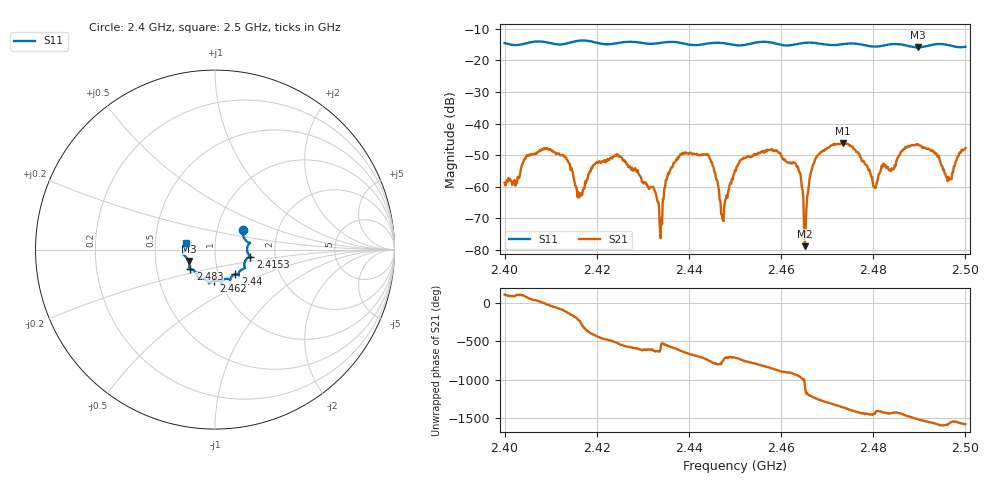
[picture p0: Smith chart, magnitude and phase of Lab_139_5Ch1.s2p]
# Hz S RI R
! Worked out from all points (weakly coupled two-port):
!   601 points, 2.4 GHz to 2.5 GHz, reference 50 ohm
!   highest |S21| = -46.12 dB at 2.4735 GHz (marker M1); lowest = -78.8 dB at 2.4652 GHz (marker M2)
!   lowest |S11| = -15.9 dB at 2.4897 GHz (marker M3), VSWR 1.38, Z = 36.9 - j4.8 ohm
!   |S11| at or under -10 dB: start of sweep to end of sweep
!   S12 and S22 are empty: the file has one direction only
!   S11 on the Smith chart (normalised r, x): 2.4 GHz: 1.33, +0.29; 2.4153 GHz: 1.48, -0.12; 2.44 GHz: 1.20, -0.34; 2.462 GHz: 0.93, -0.33; 2.483 GHz: 0.74, -0.17; 2.5 GHz: 0.72, +0.06
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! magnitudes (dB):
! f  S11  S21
! 2.4 GHz  -14.5  -58.8
! 2.4088 GHz  -14.2  -47.8
! 2.4153 GHz  -14.0  -59.6
! 2.4167 GHz  -13.7  -62.2
! 2.4245 GHz  -14.5  -49.7
! 2.4333 GHz  -14.5  -64.8
! 2.4363 GHz  -14.1  -53.9
! 2.44 GHz  -15.0  -49.7
! 2.4445 GHz  -14.6  -51.0
! 2.4472 GHz  -14.5  -69.1
! 2.45 GHz  -15.1  -54.8
! 2.462 GHz  -15.2  -52.3
! 2.4638 GHz  -14.7  -54.9
! 2.4652 GHz  -14.4  -78.8
! 2.4667 GHz  -14.4  -54.6
! 2.4735 GHz  -14.8  -46.1
! 2.4803 GHz  -15.6  -60.4
! 2.483 GHz  -15.1  -53.8
! 2.4833 GHz  -15.0  -54.6
! 2.4897 GHz  -15.9  -46.5
! 2.4965 GHz  -15.2  -57.8
! 2.5 GHz  -15.7  -47.7
